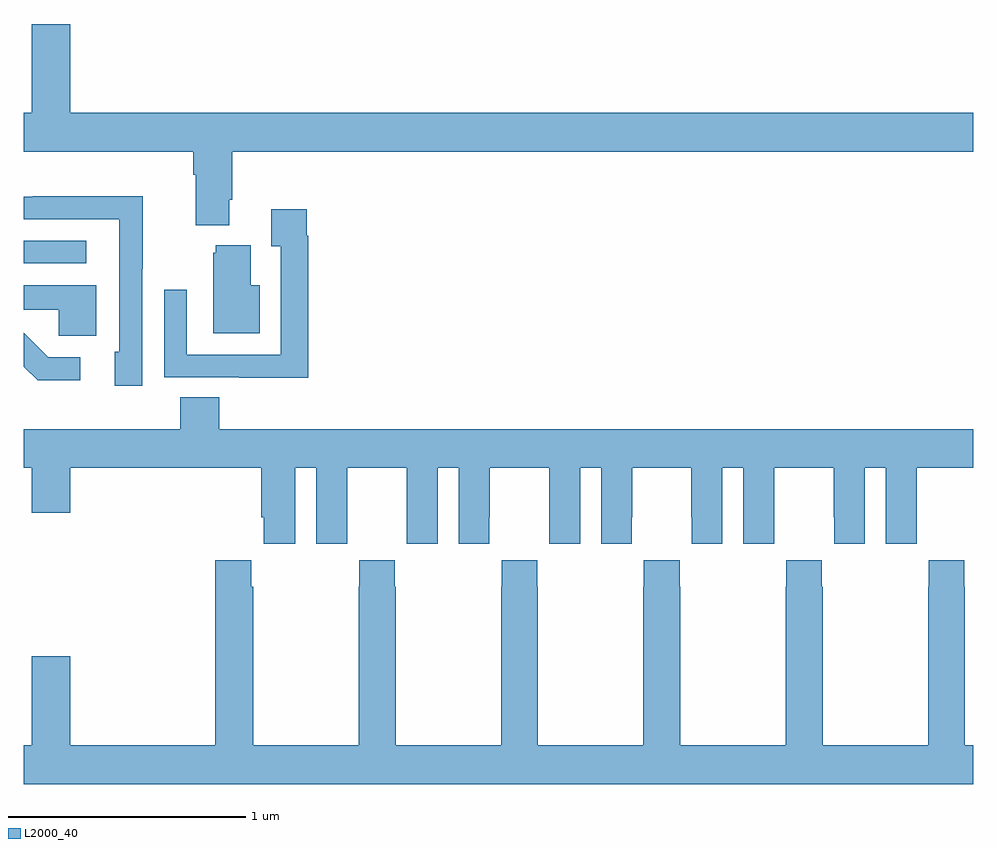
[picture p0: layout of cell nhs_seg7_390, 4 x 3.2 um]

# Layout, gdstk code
import gdstk
lib = gdstk.Library(unit=1e-6, precision=1e-09)
def R(c, l, rs):  # rectangles x0, y0, x1, y1
    for r in rs: c.add(gdstk.rectangle(r[:2], r[2:], *l))
def P(c, l, *ps):  # polygons
    for p in ps: c.add(gdstk.Polygon(p, *l))
L2000_40 = (2000, 40)

nhs_seg7_390 = lib.new_cell('nhs_seg7_390')
R(nhs_seg7_390, L2000_40, [(141,1014.798,141.262,1014.894)])
P(nhs_seg7_390, L2000_40, [(141.865,1015.066),(141.878,1015.066),(141.878,1015.268),(145,1015.268),(145,1015.432),(141.196,1015.432),(141.196,1015.807),(141.032,1015.807),(141.032,1015.432),(141,1015.432),(141,1015.268),(141.713,1015.268),(141.713,1015.172),(141.725,1015.172),(141.725,1014.959),(141.865,1014.959)],
  [(141.498,1014.775),(141.501,1014.775),(141.501,1015.082),(141.037,1015.082),(141.037,1015.08),(141,1015.08),(141,1014.984),(141.401,1014.984),(141.401,1014.73),(141.402,1014.73),(141.402,1014.426),(141.383,1014.426),(141.383,1014.282),(141.498,1014.282)],
  [(142.199,1014.914),(142.192,1014.914),(142.192,1015.027),(142.043,1015.027),(142.043,1014.871),(142.083,1014.871),(142.083,1014.414),(141.687,1014.414),(141.687,1014.688),(141.591,1014.688),(141.591,1014.318),(141.907,1014.318),(141.907,1014.317),(142.199,1014.317)],
  [(141.994,1014.706),(141.955,1014.706),(141.955,1014.874),(141.809,1014.874),(141.809,1014.843),(141.797,1014.843),(141.797,1014.503),(141.994,1014.503)],
  [(141.304,1014.706),(141,1014.706),(141,1014.602),(141.147,1014.602),(141.147,1014.494),(141.304,1014.494)],
  [(141.238,1014.402),(141.103,1014.402),(141,1014.505),(141,1014.363),(141.059,1014.305),(141.238,1014.305)],
  [(141.824,1014.233),(141.659,1014.233),(141.659,1014.1),(141,1014.1),(141,1013.936),(141.032,1013.936),(141.032,1013.748),(141.196,1013.748),(141.196,1013.936),(142.001,1013.936),(142.001,1013.728),(142.01,1013.728),(142.01,1013.616),(142.144,1013.616),(142.144,1013.936),(142.232,1013.936),(142.232,1013.616),(142.362,1013.616),(142.362,1013.728),(142.363,1013.728),(142.363,1013.936),(142.613,1013.936),(142.613,1013.728),(142.614,1013.728),(142.614,1013.616),(142.744,1013.616),(142.744,1013.936),(142.832,1013.936),(142.832,1013.616),(142.962,1013.616),(142.962,1013.728),(142.963,1013.728),(142.963,1013.936),(143.213,1013.936),(143.213,1013.728),(143.214,1013.728),(143.214,1013.616),(143.344,1013.616),(143.344,1013.936),(143.432,1013.936),(143.432,1013.616),(143.562,1013.616),(143.562,1013.728),(143.563,1013.728),(143.563,1013.936),(143.813,1013.936),(143.813,1013.728),(143.814,1013.728),(143.814,1013.616),(143.944,1013.616),(143.944,1013.936),(144.032,1013.936),(144.032,1013.616),(144.162,1013.616),(144.162,1013.728),(144.163,1013.728),(144.163,1013.936),(144.413,1013.936),(144.413,1013.728),(144.414,1013.728),(144.414,1013.616),(144.544,1013.616),(144.544,1013.936),(144.632,1013.936),(144.632,1013.616),(144.762,1013.616),(144.762,1013.728),(144.763,1013.728),(144.763,1013.936),(145,1013.936),(145,1014.1),(141.824,1014.1)],
  [(145,1012.768),(144.966,1012.768),(144.966,1013.435),(144.963,1013.435),(144.963,1013.548),(144.813,1013.548),(144.813,1013.435),(144.811,1013.435),(144.811,1012.768),(144.366,1012.768),(144.366,1013.435),(144.363,1013.435),(144.363,1013.548),(144.213,1013.548),(144.213,1013.435),(144.211,1013.435),(144.211,1012.768),(143.766,1012.768),(143.766,1013.435),(143.763,1013.435),(143.763,1013.548),(143.613,1013.548),(143.613,1013.435),(143.611,1013.435),(143.611,1012.768),(143.166,1012.768),(143.166,1013.435),(143.163,1013.435),(143.163,1013.548),(143.013,1013.548),(143.013,1013.435),(143.011,1013.435),(143.011,1012.768),(142.566,1012.768),(142.566,1013.435),(142.563,1013.435),(142.563,1013.548),(142.413,1013.548),(142.413,1013.435),(142.411,1013.435),(142.411,1012.768),(141.966,1012.768),(141.966,1013.435),(141.959,1013.435),(141.959,1013.548),(141.806,1013.548),(141.806,1012.768),(141.196,1012.768),(141.196,1013.143),(141.032,1013.143),(141.032,1012.768),(141,1012.768),(141,1012.604),(145,1012.604)])

lib.write_gds('nhs_seg7_390.gds')
